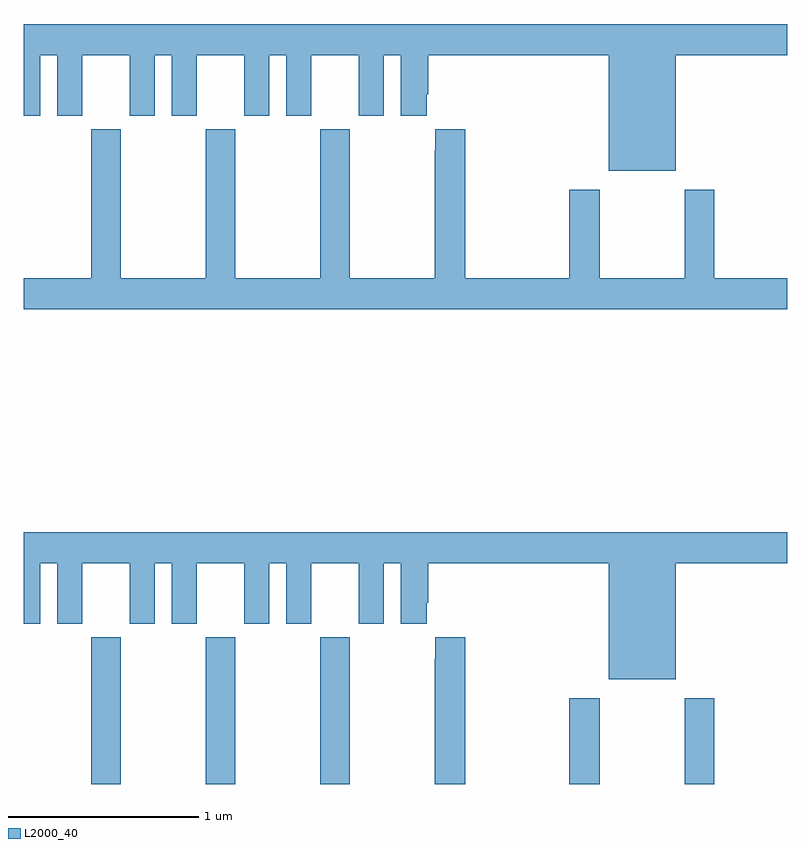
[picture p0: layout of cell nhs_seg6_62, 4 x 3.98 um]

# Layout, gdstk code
import gdstk
lib = gdstk.Library(unit=1e-6, precision=1e-09)
def R(c, l, rs):  # rectangles x0, y0, x1, y1
    for r in rs: c.add(gdstk.rectangle(r[:2], r[2:], *l))
def A(c, l, x, y, w, h, nx, ny, dx, dy):  # array of equal rectangles
    R(c, l, [(x+i*dx, y+j*dy, x+i*dx+w, y+j*dy+h) for i in range(nx) for j in range(ny)])
def P(c, l, *ps):  # polygons
    for p in ps: c.add(gdstk.Polygon(p, *l))
L2000_40 = (2000, 40)

nhs_seg6_62 = lib.new_cell('nhs_seg6_62')
A(nhs_seg6_62, L2000_40, 113.353, 959.5, 0.155, 0.768, 3, 1, 0.6, 0)
R(nhs_seg6_62, L2000_40, [(115.859,959.5,116.019,959.95), (116.464,959.5,116.619,959.95)])
P(nhs_seg6_62, L2000_40, [(116.416,963.32),(117,963.32),(117,963.484),(113,963.484),(113,963.003),(113.086,963.003),(113.086,963.32),(113.174,963.32),(113.174,963.003),(113.305,963.003),(113.305,963.32),(113.555,963.32),(113.555,963.003),(113.686,963.003),(113.686,963.32),(113.774,963.32),(113.774,963.003),(113.905,963.003),(113.905,963.32),(114.155,963.32),(114.155,963.003),(114.286,963.003),(114.286,963.32),(114.374,963.32),(114.374,963.003),(114.505,963.003),(114.505,963.32),(114.755,963.32),(114.755,963.003),(114.886,963.003),(114.886,963.32),(114.974,963.32),(114.974,963.003),(115.111,963.003),(115.111,963.115),(115.118,963.115),(115.118,963.32),(116.066,963.32),(116.066,962.714),(116.416,962.714)],
  [(117,962.152),(116.619,962.152),(116.619,962.614),(116.464,962.614),(116.464,962.152),(116.019,962.152),(116.019,962.614),(115.859,962.614),(115.859,962.152),(115.313,962.152),(115.313,962.932),(115.157,962.932),(115.157,962.819),(115.153,962.819),(115.153,962.152),(114.708,962.152),(114.708,962.932),(114.553,962.932),(114.553,962.152),(114.108,962.152),(114.108,962.932),(113.953,962.932),(113.953,962.152),(113.508,962.152),(113.508,962.932),(113.353,962.932),(113.353,962.152),(113,962.152),(113,961.988),(117,961.988)],
  [(116.416,960.656),(117,960.656),(117,960.82),(113,960.82),(113,960.339),(113.086,960.339),(113.086,960.656),(113.174,960.656),(113.174,960.339),(113.305,960.339),(113.305,960.656),(113.555,960.656),(113.555,960.339),(113.686,960.339),(113.686,960.656),(113.774,960.656),(113.774,960.339),(113.905,960.339),(113.905,960.656),(114.155,960.656),(114.155,960.339),(114.286,960.339),(114.286,960.656),(114.374,960.656),(114.374,960.339),(114.505,960.339),(114.505,960.656),(114.755,960.656),(114.755,960.339),(114.886,960.339),(114.886,960.656),(114.974,960.656),(114.974,960.339),(115.111,960.339),(115.111,960.451),(115.118,960.451),(115.118,960.656),(116.066,960.656),(116.066,960.05),(116.416,960.05)],
  [(115.313,960.268),(115.157,960.268),(115.157,960.155),(115.153,960.155),(115.153,959.5),(115.313,959.5)])

lib.write_gds('nhs_seg6_62.gds')
